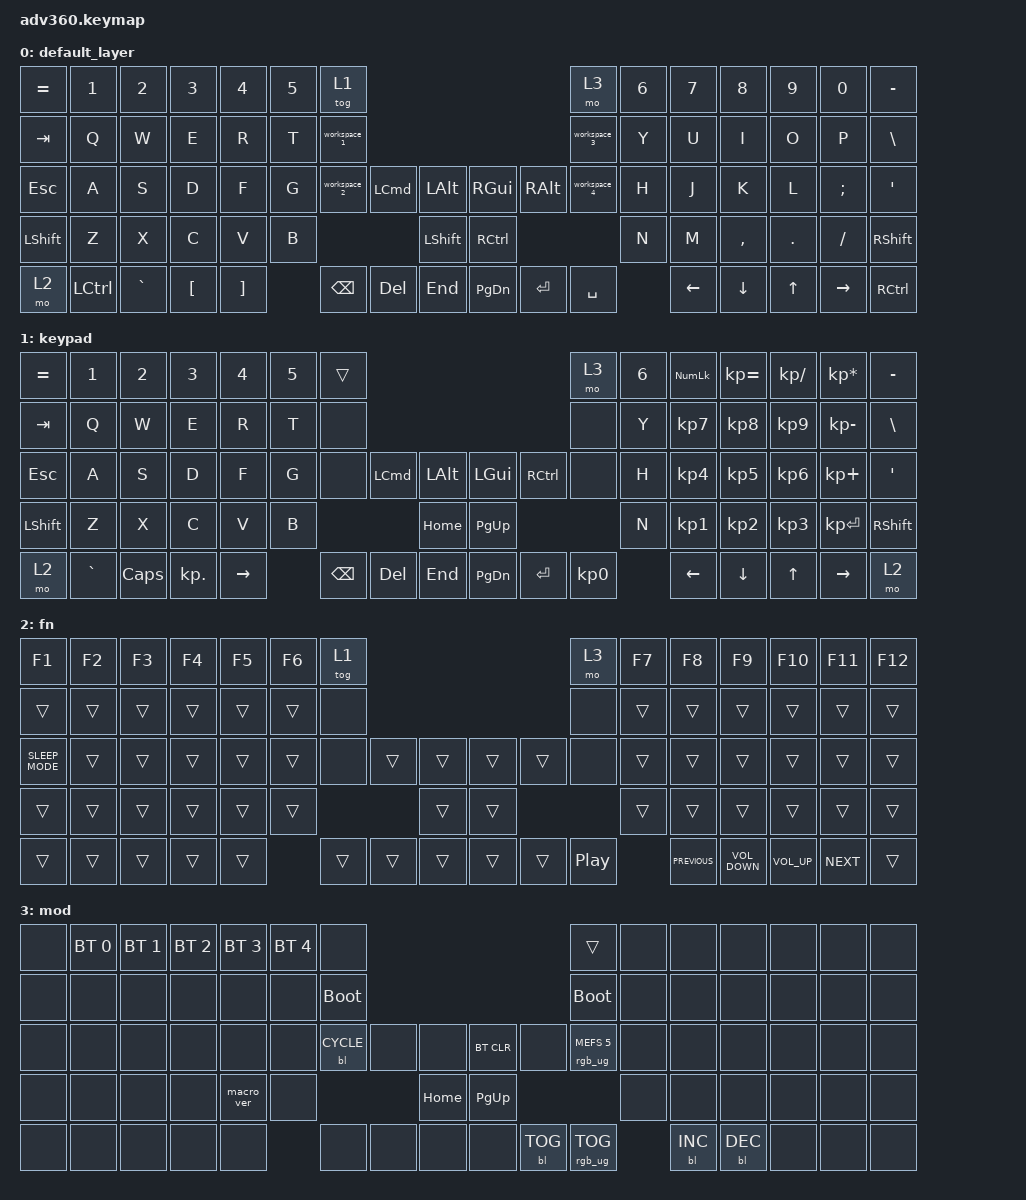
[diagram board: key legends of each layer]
#include <behaviors.dtsi>
#include <dt-bindings/zmk/backlight.h>
#include <dt-bindings/zmk/bt.h>
#include <dt-bindings/zmk/keys.h>
#include <dt-bindings/zmk/rgb.h>
#include <dt-bindings/zmk/stp.h>
#include <dt-bindings/zmk/pointing.h>

/ {
    behaviors {
        #include "macros.dtsi"
      #include "version.dtsi"
      #ifndef VERSION_MACRO

        macro_ver: macro_ver {
            compatible = "zmk,behavior-macro";
            label = "macro_version";
            #binding-cells = <0>;
            bindings = <&kp RET>;
        };

        workspace_1: workspace_1 {
            compatible = "zmk,behavior-macro";
            #binding-cells = <0>;
            bindings = <&kp LA(NUMBER_1)>;
            label = "workspace_1";
        };

        workspace_2: workspace_2 {
            compatible = "zmk,behavior-macro";
            #binding-cells = <0>;
            bindings = <&kp LA(NUMBER_2)>;
            label = "workspace_2";
        };

        workspace_3: workspace_3 {
            compatible = "zmk,behavior-macro";
            #binding-cells = <0>;
            bindings = <&kp LA(NUMBER_3)>;
            label = "workspace_3";
        };

        workspace_4: workspace_4 {
            compatible = "zmk,behavior-macro";
            #binding-cells = <0>;
            bindings = <&kp LA(NUMBER_4)>;
            label = "workspace_4";
        };

        #endif

        hm: homerow_mods {
            compatible = "zmk,behavior-hold-tap";
            label = "HOMEROW_MODS";
            #binding-cells = <2>;
            tapping-term-ms = <200>;
            quick_tap_ms = <175>;
            flavor = "tap-preferred";
            bindings = <&kp>, <&kp>;
        };
    };

    macros {
    };

    combos {
        compatible = "zmk,combos";

        doubleShift {
            bindings = <&kp CAPS>;
            key-positions = <46 59>;
        };
    };

    keymap {
        compatible = "zmk,keymap";

        default_layer {
            bindings = <
&kp EQUAL  &kp N1     &kp N2     &kp N3            &kp N4             &kp N5  &tog 1                                                                      &mo 3         &kp N6  &kp N7    &kp N8     &kp N9   &kp N0     &kp MINUS
&kp TAB    &kp Q      &kp W      &kp E             &kp R              &kp T   &workspace_1                                                                &workspace_3  &kp Y   &kp U     &kp I      &kp O    &kp P      &kp BSLH
&kp ESC    &kp A      &kp S      &kp D             &kp F              &kp G   &workspace_2  &kp LEFT_COMMAND  &kp LEFT_ALT      &kp RGUI   &kp RIGHT_ALT  &workspace_4  &kp H   &kp J     &kp K      &kp L    &kp SEMI   &kp SQT
&kp LSHFT  &kp Z      &kp X      &kp C             &kp V              &kp B                                   &kp LSHIFT        &kp RCTRL                               &kp N   &kp M     &kp COMMA  &kp DOT  &kp SLASH  &kp RSHFT
&mo 2      &kp LCTRL  &kp GRAVE  &kp LEFT_BRACKET  &kp RIGHT_BRACKET          &kp BSPC      &kp DELETE        &kp END           &kp PG_DN  &kp ENTER      &kp SPACE             &kp LEFT  &kp DOWN   &kp UP   &kp RIGHT  &kp RIGHT_CONTROL
            >;
        };

        keypad {
            bindings = <
&kp EQUAL  &kp N1     &kp N2    &kp N3      &kp N4     &kp N5  &trans                                                          &mo 3      &kp N6  &kp KP_NUM  &kp KP_EQUAL  &kp KP_DIVIDE  &kp KP_MULTIPLY  &kp MINUS
&kp TAB    &kp Q      &kp W     &kp E       &kp R      &kp T   &none                                                           &none      &kp Y   &kp KP_N7   &kp KP_N8     &kp KP_N9      &kp KP_MINUS     &kp BSLH
&kp ESC    &kp A      &kp S     &kp D       &kp F      &kp G   &none     &kp LEFT_COMMAND  &kp LALT      &kp LGUI   &kp RCTRL  &none      &kp H   &kp KP_N4   &kp KP_N5     &kp KP_N6      &kp KP_PLUS      &kp SQT
&kp LSHFT  &kp Z      &kp X     &kp C       &kp V      &kp B                               &kp HOME      &kp PG_UP                        &kp N   &kp KP_N1   &kp KP_N2     &kp KP_N3      &kp KP_ENTER     &kp RSHFT
&mo 2      &kp GRAVE  &kp CAPS  &kp KP_DOT  &kp RIGHT          &kp BSPC  &kp DEL           &kp END       &kp PG_DN  &kp ENTER  &kp KP_N0          &kp LEFT    &kp DOWN      &kp UP         &kp RIGHT        &mo 2
            >;
        };

        fn {
            bindings = <
&kp F1            &kp F2  &kp F3  &kp F4  &kp F5  &kp F6  &tog 1                                      &mo 3             &kp F7  &kp F8          &kp F9             &kp F10          &kp F11     &kp F12
&trans            &trans  &trans  &trans  &trans  &trans  &none                                       &none             &trans  &trans          &trans             &trans           &trans      &trans
&kp C_SLEEP_MODE  &trans  &trans  &trans  &trans  &trans  &none   &trans  &trans      &trans  &trans  &none             &trans  &trans          &trans             &trans           &trans      &trans
&trans            &trans  &trans  &trans  &trans  &trans                  &trans      &trans                            &trans  &trans          &trans             &trans           &trans      &trans
&trans            &trans  &trans  &trans  &trans          &trans  &trans  &trans      &trans  &trans  &kp C_PLAY_PAUSE          &kp C_PREVIOUS  &kp C_VOLUME_DOWN  &kp C_VOLUME_UP  &kp C_NEXT  &trans
            >;
        };

        mod {
            bindings = <
&none  &bt BT_SEL 0  &bt BT_SEL 1  &bt BT_SEL 2  &bt BT_SEL 3  &bt BT_SEL 4  &none                                                       &trans                  &none  &none       &none       &none  &none  &none
&none  &none         &none         &none         &none         &none         &bootloader                                                 &bootloader             &none  &none       &none       &none  &none  &none
&none  &none         &none         &none         &none         &none         &bl BL_CYCLE  &none  &none         &bt BT_CLR   &none       &rgb_ug RGB_MEFS_CMD 5  &none  &none       &none       &none  &none  &none
&none  &none         &none         &none         &macro_ver    &none                              &kp HOME      &kp PAGE_UP                                      &none  &none       &none       &none  &none  &none
&none  &none         &none         &none         &none                       &none         &none  &none         &none        &bl BL_TOG  &rgb_ug RGB_TOG                &bl BL_INC  &bl BL_DEC  &none  &none  &none
            >;
        };
            extra1 { 
      display-name = "Red";    
      status = "reserved";
    };

    extra2 { 
      display-name = "Purple";    
      status = "reserved";
    };

    extra3 { 
      display-name = "Cyan";    
      status = "reserved";
    };

    extra4 { 
      display-name = "Yellow";    
      status = "reserved";
    };
  };
    };
